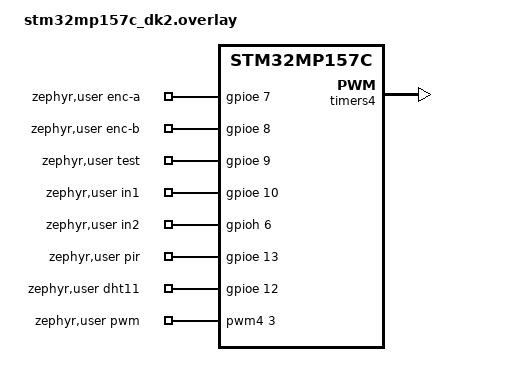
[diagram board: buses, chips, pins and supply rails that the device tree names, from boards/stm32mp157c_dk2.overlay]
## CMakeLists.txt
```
cmake_minimum_required(VERSION 3.20.0)

find_package(Zephyr REQUIRED HINTS $ENV{ZEPHYR_BASE})
project(motor_gateway_m4)

target_include_directories(app PRIVATE
    src
    src/bsw/mcal
    src/bsw/cdd
    src/rte
    src/asw
)

target_sources(app PRIVATE
    src/main.c
    src/bsw/mcal/Mcal_Dio.c
    src/bsw/mcal/Mcal_Pwm.c
    src/bsw/mcal/Mcal_Adc.c
    src/bsw/mcal/Mcal_Icu.c
    src/bsw/cdd/Cdd_L298n.c
    src/bsw/cdd/Cdd_Ipc.c
    src/bsw/cdd/Cdd_Dht11.c
    src/rte/Rte.c
    src/asw/Swc_MotorControl.c
    src/asw/Swc_SensorManager.c
    src/asw/Swc_SafetyManager.c
)
```

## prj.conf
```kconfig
# AUTOSAR Classic M4 Firmware Configuration
CONFIG_GPIO=y
CONFIG_PWM=y
CONFIG_ADC=y
CONFIG_FPU=y

# Tat UART console vi nhan M4 khong dung chung cong UART4 voi Linux A7
CONFIG_SERIAL=n
CONFIG_CONSOLE=n
CONFIG_UART_CONSOLE=n
CONFIG_RAM_CONSOLE=n

# OpenAMP + Resource Table + IPM for STM32MP157 IPCC Inter-Processor Communication
CONFIG_IPM=y
CONFIG_OPENAMP=y
CONFIG_OPENAMP_RSC_TABLE=y
CONFIG_OPENAMP_RSC_TABLE_NUM_RPMSG_BUFF=8
CONFIG_HEAP_MEM_POOL_SIZE=8192
CONFIG_MAIN_STACK_SIZE=2048
```

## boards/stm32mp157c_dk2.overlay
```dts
/*
 * Copyright (c) 2026 Automotive Gateway & Motor Controller Project
 * Device Tree Overlay for STM32MP157C-DK2 / STM32MP157D-DK1 Cortex-M4
 *
 * Pin assignments:
 * - PE7:  Arduino D0  - JGA25-370 Encoder Channel A (GPIO interrupt / poll fallback)
 * - PE8:  Arduino D1  - JGA25-370 Encoder Channel B (GPIO interrupt / poll fallback)
 * - PC6:  CN2 Pin 13  - TIM3_CH1 Hardware Quadrature Encoder Channel A (QDEC)
 * - PC7:  CN2 Pin 15  - TIM3_CH2 Hardware Quadrature Encoder Channel B (QDEC)
 * - PE9:  Arduino D6  - Test Pin for Logic Analyzer jitter measurement (FR-M10)
 * - PE10: Arduino D4  - L298N IN1 direction pin
 * - PH6:  Arduino D9  - L298N IN2 direction pin
 * - PD14: Arduino D3  - L298N ENA PWM pin (TIM4_CH3, 20 kHz) [CN14 Pin 4]
 * - PE12: Arduino D13 - DHT11 1-Wire Temperature/Humidity sensor (FR-M8)
 * - PE13: Arduino D12 - HC-SR501 PIR Motion Sensor input (FR-M6)
 * - PF14: Arduino A4  - GY-61 Accelerometer X-axis analog input
 * - PF13: Arduino A3  - GY-61 Accelerometer Y-axis analog input
 * - PF12: Arduino A5  - GY-61 Accelerometer Z-axis analog input (FR-M7)
 * - Board Status LED: referenced via default 'led0' alias from board dts
 */

#include <zephyr/dt-bindings/gpio/gpio.h>
#include <zephyr/dt-bindings/pwm/pwm.h>

/ {
	chosen {
		zephyr,ipc = &mailbox;
	};

	soc {
		timers4: timers@40002000 {
			compatible = "st,stm32-timers";
			reg = <0x40002000 0x400>;
			clocks = <&rcc STM32_CLOCK(APB1, 2)>;
			resets = <&rctl STM32_RESET(APB1, 2)>;
			interrupts = <30 0>;
			interrupt-names = "global";
			st,prescaler = <1>;
			status = "okay";

			pwm4: pwm {
				compatible = "st,stm32-pwm";
				status = "okay";
				pinctrl-0 = <&tim4_ch3_pd14>;
				pinctrl-names = "default";
				#pwm-cells = <3>;
			};
		};
	};

	zephyr,user {
		enc-a-gpios = <&gpioe 7 (GPIO_PULL_UP | GPIO_ACTIVE_HIGH)>;
		enc-b-gpios = <&gpioe 8 (GPIO_PULL_UP | GPIO_ACTIVE_HIGH)>;
		test-gpios  = <&gpioe 9 GPIO_ACTIVE_HIGH>;
		in1-gpios   = <&gpioe 10 GPIO_ACTIVE_HIGH>;
		in2-gpios   = <&gpioh 6 GPIO_ACTIVE_HIGH>;
		pir-gpios   = <&gpioe 13 (GPIO_PULL_DOWN | GPIO_ACTIVE_HIGH)>;
		dht11-gpios = <&gpioe 12 (GPIO_PULL_UP | GPIO_ACTIVE_HIGH)>;
		pwms        = <&pwm4 3 PWM_KHZ(20) PWM_POLARITY_NORMAL>;
	};
};

&gpioc {
	status = "okay";
};

&gpiod {
	status = "okay";
};

&gpioe {
	status = "okay";
};

&gpiof {
	status = "okay";
};

&gpioh {
	status = "okay";
};
```

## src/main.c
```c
#include <zephyr/kernel.h>
#include <zephyr/sys/printk.h>
#include "std_types.h"
#include "Mcal_Dio.h"
#include "Mcal_Pwm.h"
#include "Mcal_Icu.h"
#include "Cdd_L298n.h"
#include "Cdd_Ipc.h"
#include "Swc_MotorControl.h"
#include "Rte.h"

/* High priority deterministic 10ms timer and synchronization semaphore */
static struct k_timer s_timer_10ms;
static struct k_sem s_sem_10ms;

static void Timer10ms_ExpiryCallback(struct k_timer *timer_id)
{
    ARG_UNUSED(timer_id);
    k_sem_give(&s_sem_10ms);
}

void EcuM_Init(void)
{
    printk("[EcuM] Starting ECU State Manager...\n");

    /* Initialize Microcontroller Abstraction Layer (MCAL) */
    if (Mcal_Dio_Init() != E_OK) {
        printk("[EcuM] MCAL Dio Init failed!\n");
    } else {
        printk("[EcuM] MCAL Dio Initialized.\n");
    }

    if (Mcal_Pwm_Init() != E_OK) {
        printk("[EcuM] MCAL Pwm Init failed!\n");
    } else {
        printk("[EcuM] MCAL Pwm Initialized.\n");
    }

    if (Mcal_Icu_Init() != E_OK) {
        printk("[EcuM] MCAL Icu Init failed!\n");
    } else {
        printk("[EcuM] MCAL Icu Initialized.\n");
    }

    /* Initialize Complex Device Drivers (CDD) */
    if (Cdd_L298n_Init() != E_OK) {
        printk("[EcuM] CDD L298N Init failed!\n");
    } else {
        printk("[EcuM] CDD L298N Initialized.\n");
    }

    if (Cdd_Ipc_Init() != E_OK) {
        printk("[EcuM] CDD IPC Init failed!\n");
    } else {
        printk("[EcuM] CDD IPC Initialized.\n");
    }

    /* Initialize Application Software Components */
    Swc_MotorControl_Init();
    printk("[EcuM] SWC MotorControl Initialized.\n");

    /* Initialize Runtime Environment */
    Rte_Init();
    printk("[EcuM] RTE Initialized.\n");

    printk("[EcuM] State transition: RUN\n");
}

int main(void)
{
    printk("=============================================\n");
    printk("STM32MP157 Motor Gateway - Cortex-M4 Firmware\n");
    printk("AUTOSAR Classic Architecture on Zephyr RTOS\n");
    printk("=============================================\n");

    /* Initialize ECU state */
    EcuM_Init();

    /* Raise thread priority to preemptive priority 1 for minimal scheduling latency */
    k_thread_priority_set(k_current_get(), K_PRIO_PREEMPT(1));

    /* Initialize deterministic periodic timer and semaphore */
    k_sem_init(&s_sem_10ms, 0, 1);
    k_timer_init(&s_timer_10ms, Timer10ms_ExpiryCallback, NULL);
    k_timer_start(&s_timer_10ms, K_MSEC(10), K_MSEC(10));

    printk("[Main] Periodic 10ms control loop active (Timer/Sem).\n");

    /* High-priority deterministic cyclic execution */
    while (1) {
        if (k_sem_take(&s_sem_10ms, K_FOREVER) == 0) {
            Rte_TimerEvent_10ms();
        }
    }

    return 0;
}
```

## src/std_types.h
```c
#ifndef STD_TYPES_H
#define STD_TYPES_H

#include <stdint.h>
#include <stdbool.h>
#include <stddef.h>

/* AUTOSAR Standard Fixed-Width Integer & Float Types */
typedef uint8_t         uint8;
typedef uint16_t        uint16;
typedef uint32_t        uint32;
typedef int8_t          sint8;
typedef int16_t         sint16;
typedef int32_t         sint32;
typedef float           float32;
typedef double          float64;

/* AUTOSAR Standard Boolean Type */
typedef bool            boolean;

#ifndef TRUE
#define TRUE            ((boolean)true)
#endif

#ifndef FALSE
#define FALSE           ((boolean)false)
#endif

/* AUTOSAR Standard Return Type */
typedef uint8           Std_ReturnType;
#define E_OK            ((Std_ReturnType)0u)
#define E_NOT_OK        ((Std_ReturnType)1u)

/* AUTOSAR Standard Logic Levels */
#define STD_HIGH        1u
#define STD_LOW         0u

/* Motor Control Operational Modes */
typedef enum {
    MOTOR_MODE_STOPPED     = 0u, /* Motor stopped / coasting (Duty = 0%) */
    MOTOR_MODE_OPEN_LOOP   = 1u, /* Fixed open-loop PWM duty cycle [%] */
    MOTOR_MODE_CLOSED_LOOP = 2u, /* Closed-loop discrete PID speed control [RPM] */
    MOTOR_MODE_STEP_TEST   = 3u, /* Automated open-loop step response for SysID */
    MOTOR_MODE_FAULT       = 4u  /* Emergency stop / active dynamic braking */
} MotorControl_ModeType;

/* Motor Control Step Test Configuration */
typedef struct {
    float32 base_duty;      /* Initial baseline duty cycle [%] before step */
    float32 step_duty;      /* Target step duty cycle [%] during excitation */
    uint32  pre_step_ms;    /* Duration at base_duty before step [ms] */
    uint32  step_dur_ms;    /* Duration at step_duty [ms] */
} MotorControl_StepConfigType;

/* Sensor Data Types for SWC_SensorManager */
typedef struct {
    float32 accel_x_g;      /* GY-61 X-axis acceleration [g] */
    float32 accel_y_g;      /* GY-61 Y-axis acceleration [g] */
    float32 accel_z_g;      /* GY-61 Z-axis acceleration [g] */
    float32 accel_mag_g;    /* Resultant vibration magnitude |a| [g] */
    float32 temperature_c;  /* DHT11 Temperature [degC] */
    float32 humidity_pct;   /* DHT11 Relative Humidity [%] */
    boolean pir_detected;   /* HC-SR501 PIR Motion Detected (TRUE = motion) */
} Sensor_DataType;

/* Safety Fault Reasons for SWC_SafetyManager */
typedef enum {
    SAFETY_OK           = 0u,
    SAFETY_FAULT_PIR    = 1u, /* Obstacle/Human detected in motion zone */
    SAFETY_FAULT_CRASH  = 2u, /* High vibration / collision shock (>=3.5g) */
    SAFETY_FAULT_WDG    = 3u, /* IPC Heartbeat Watchdog Timeout (>1.0s) */
    SAFETY_FAULT_MANUAL = 4u  /* Manual E-Stop command from Linux */
} Safety_FaultReasonType;

#endif /* STD_TYPES_H */
```
